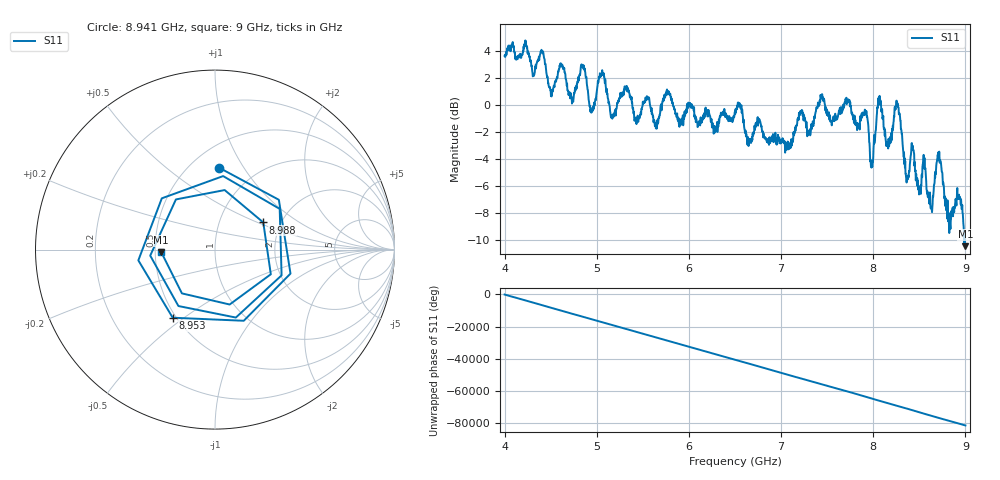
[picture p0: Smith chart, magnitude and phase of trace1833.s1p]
! Created with skrf 1.8.0 (http://scikit-rf.org).
# Hz S RI R 50.0
!freq ReS11 ImS11
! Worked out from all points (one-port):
!   1601 points, 4 GHz to 9 GHz, reference 50 ohm
!   lowest |S11| = -10.5 dB at 9 GHz (marker M1), VSWR 1.86, Z = 26.9 - j0.831 ohm
!   |S11| at or under -10 dB: 8.986858 GHz to 8.988752 GHz (1.894 MHz wide, 0.0211 % of centre); 8.994101 GHz to end of sweep
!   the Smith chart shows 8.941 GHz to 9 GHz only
!   S11 on the Smith chart (normalised r, x): 8.941 GHz: 0.68, +0.79; 8.953 GHz: 0.48, -0.45; 8.988 GHz: 1.62, +0.54; 9 GHz: 0.54, -0.02
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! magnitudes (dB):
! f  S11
! 4 GHz  3.6
! 4.409 GHz  4.0
! 4.506 GHz  0.9
! 4.625 GHz  2.9
! 4.725 GHz  0.5
! 4.853 GHz  2.7
! 4.944 GHz  -0.5
! 5.053 GHz  2.2
! 5.169 GHz  -1.0
! 5.25 GHz  0.5
! 5.875 GHz  -1.1
! 6.5 GHz  -0.5
! 7.125 GHz  -2.5
! 7.75 GHz  0.2
! 7.919 GHz  -0.6
! 7.981 GHz  -4.6
! 8.062 GHz  0.5
! 8.162 GHz  -3.2
! 8.259 GHz  -0.1
! 8.375 GHz  -5.5
! 8.425 GHz  -3.2
! 8.628 GHz  -7.6
! 8.712 GHz  -4.1
! 8.819 GHz  -8.4
! 8.941 GHz  -6.8
! 8.953 GHz  -7.0
! 8.988 GHz  -10.2
! 9 GHz  -10.5
